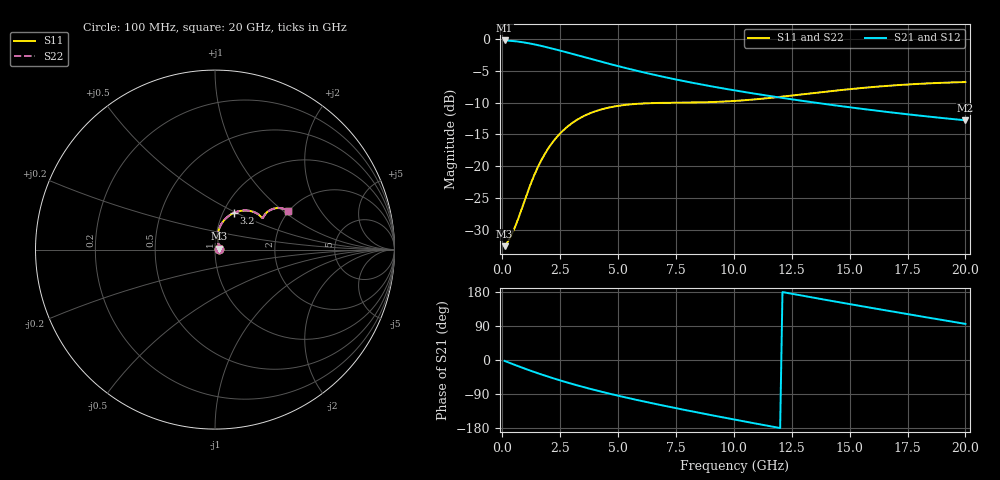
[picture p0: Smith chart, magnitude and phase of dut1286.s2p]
! Touchstone file exported from HFSS 2024.1.0
!  File:  C:/UserFiles/LocalFiles/RDL_TSV_Batchsim/temp_RDL_TSV_1286_1780278491.aedt
!  Generated:  10:07:03 AM Jun  1, 2026
!  Design:  RDL_TSV
!  Project:  temp_RDL_TSV_1286_1780278491
!  Setup:  Setup1
!  Solution:  Sweep
! Variables:
!  dtsv = 13.35um
!  hbump = 3um
!  htsv = 82.93um
!  ldown = 374.42um
!  lrdl = 635.62um
!  p = 40
!  p1 = 53.02um
!  rhole = 10um
!  subl = 3665.74um
!  t = 450um
!  tdown = 4.91um
!  trdl = 4.29um
!  viad = 10um
!  wdown = 17.62um
!  wrdl = 11.3um
!  xbump = 18um
# GHz S MA R 50.000000
! Terminal data exported
! Port[1] = TM1_1_T1
! Port[2] = TM1_4_T1
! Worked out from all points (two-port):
!   200 points, 100 MHz to 20 GHz, reference 50 ohm
!   highest |S21| = -0.21 dB at 100 MHz (marker M1); lowest = -12.8 dB at 20 GHz (marker M2)
!   |S21| within 3 dB of the highest: start of sweep to 3.92 GHz
!   lowest |S11| = -32.6 dB at 100 MHz (marker M3), VSWR 1.05, Z = 52.3 + j0.505 ohm
!   |S11| at or under -10 dB: start of sweep to 7.8 GHz
!   |S22| runs from -32.6 to -6.8 dB; largest |S21 - S12| = 9.1e-15
!   S11 on the Smith chart (normalised r, x): 100 MHz: 1.05, +0.01; 3.2 GHz: 1.13, +0.49; 20 GHz: 1.97, +1.08
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0.1  0.02341 11.9  0.9765 -2.4  0.9765 -2.4  0.02341 11.9
! Gamma 0 0 0 0
! Port Impedance 50 0 50 0
0.5  0.03159 47.9  0.9653 -12.0  0.9653 -12.0  0.03158 48.0
0.8  0.04393 66.4  0.9503 -18.9  0.9503 -18.9  0.04394 66.5
1.2  0.07034 77.9  0.9236 -27.8  0.9236 -27.8  0.0704 78.0
1.6  0.1037 79.6  0.8918 -36.3  0.8918 -36.3  0.1038 79.7
1.9  0.1302 77.8  0.866 -42.4  0.866 -42.4  0.1304 77.9
2.3  0.1647 73.7  0.8304 -50.1  0.8304 -50.1  0.165 73.8
2.7  0.1963 68.8  0.7946 -57.5  0.7946 -57.5  0.1967 68.9
3.2  0.23 62.7  0.7507 -66.3  0.7507 -66.3  0.2305 62.7
3.5  0.2469 59.1  0.7253 -71.3  0.7253 -71.3  0.2474 59.2
4.3  0.2804 50.8  0.6622 -84.0  0.6622 -84.0  0.2811 50.9
5.1  0.3001 44.3  0.6066 -95.7  0.6066 -95.7  0.3009 44.4
5.9  0.3101 39.5  0.5584 -106.6  0.5584 -106.6  0.311 39.6
6.8  0.3146 36.0  0.5121 -118.4  0.5121 -118.4  0.3156 36.0
8.4  0.3173 33.6  0.4464 -138.1  0.4464 -138.1  0.3184 33.6
10.1  0.3266 34.3  0.393 -158.0  0.393 -158.0  0.3275 34.2
11.6  0.3448 35.4  0.3553 -175.1  0.3553 -175.1  0.3456 35.3
13.4  0.3753 35.7  0.3181 164.9  0.3181 164.9  0.3759 35.6
15  0.4037 34.6  0.2906 147.5  0.2906 147.5  0.4041 34.5
16.7  0.4296 32.6  0.266 129.5  0.266 129.5  0.4298 32.5
18.3  0.4475 30.4  0.2467 112.8  0.2467 112.8  0.4476 30.3
20  0.4593 28.2  0.2295 95.3  0.2295 95.3  0.4593 28.1
